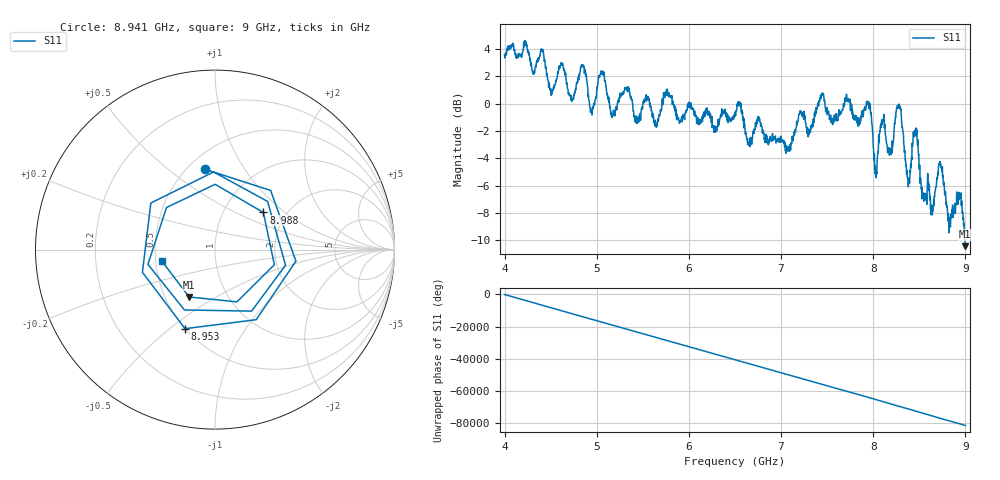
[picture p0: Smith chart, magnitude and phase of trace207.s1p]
! Created with skrf 1.8.0 (http://scikit-rf.org).
# Hz S RI R 50.0
!freq ReS11 ImS11
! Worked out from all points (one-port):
!   1601 points, 4 GHz to 9 GHz, reference 50 ohm
!   lowest |S11| = -10.4 dB at 8.997 GHz (marker M1), VSWR 1.86, Z = 33 - j19.2 ohm
!   |S11| at or under -10 dB: 8.993939 GHz to end of sweep
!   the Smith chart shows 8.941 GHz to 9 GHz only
!   S11 on the Smith chart (normalised r, x): 8.941 GHz: 0.60, +0.68; 8.953 GHz: 0.50, -0.57; 8.988 GHz: 1.53, +0.72; 9 GHz: 0.54, -0.08
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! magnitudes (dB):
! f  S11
! 4 GHz  3.6
! 4.403 GHz  3.9
! 4.512 GHz  0.8
! 4.625 GHz  2.8
! 4.725 GHz  0.5
! 4.847 GHz  2.8
! 4.944 GHz  -0.4
! 5.056 GHz  2.4
! 5.172 GHz  -0.9
! 5.25 GHz  0.6
! 5.875 GHz  -1.1
! 6.5 GHz  -0.7
! 7.125 GHz  -2.6
! 7.75 GHz  0.3
! 7.95 GHz  0.1
! 8.028 GHz  -5.3
! 8.278 GHz  -0.1
! 8.375 GHz  -5.5
! 8.459 GHz  -1.8
! 8.547 GHz  -7.1
! 8.647 GHz  -7.9
! 8.725 GHz  -4.2
! 8.825 GHz  -8.4
! 8.941 GHz  -6.9
! 8.953 GHz  -6.5
! 8.988 GHz  -9.4
! 8.997 GHz  -10.4
! 9 GHz  -10.4
